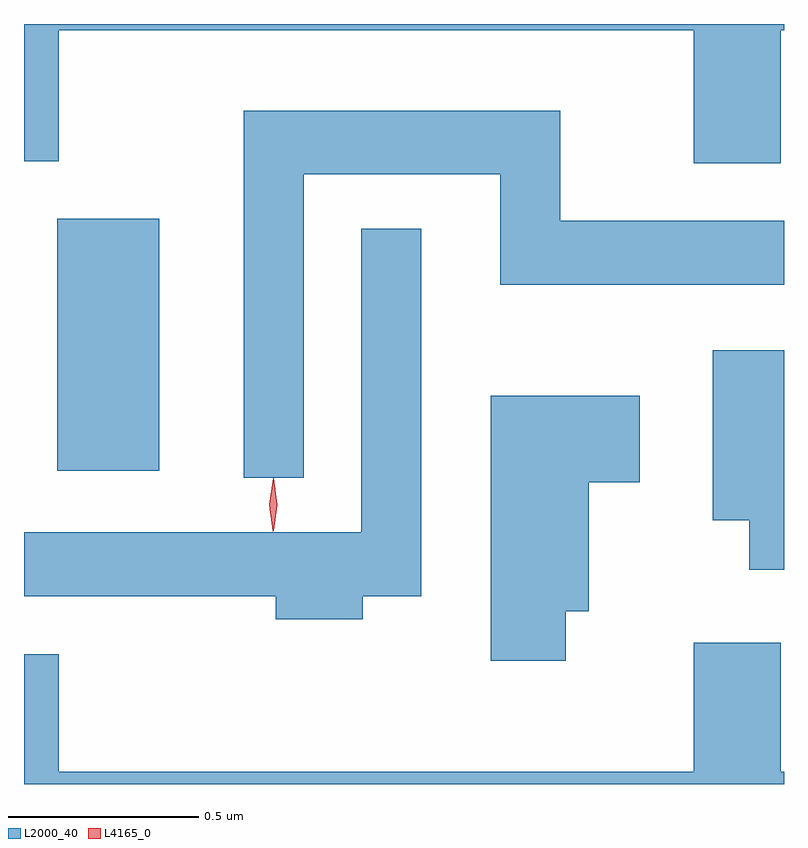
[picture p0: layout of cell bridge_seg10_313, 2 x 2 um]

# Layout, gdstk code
import gdstk
lib = gdstk.Library(unit=1e-6, precision=1e-09)
def R(c, l, rs):  # rectangles x0, y0, x1, y1
    for r in rs: c.add(gdstk.rectangle(r[:2], r[2:], *l))
def P(c, l, *ps):  # polygons
    for p in ps: c.add(gdstk.Polygon(p, *l))
L2000_40 = (2000, 40)
L4165_0 = (4165, 0)

bridge_seg10_313 = lib.new_cell('bridge_seg10_313')
R(bridge_seg10_313, L2000_40, [(1450.696,2183.796,1450.964,2184.459)])
P(bridge_seg10_313, L2000_40, [(1450.608,2184.611),(1450.699,2184.611),(1450.699,2184.956),(1452.371,2184.956),(1452.371,2184.606),(1452.599,2184.606),(1452.599,2184.956),(1452.608,2184.956),(1452.608,2184.972),(1450.608,2184.972)],
  [(1451.344,2184.576),(1451.861,2184.576),(1451.861,2184.286),(1452.608,2184.286),(1452.608,2184.454),(1452.019,2184.454),(1452.019,2184.744),(1451.186,2184.744),(1451.186,2183.778),(1451.344,2183.778)],
  [(1451.499,2183.466),(1451.654,2183.466),(1451.654,2184.433),(1451.496,2184.433),(1451.496,2183.634),(1450.608,2183.634),(1450.608,2183.466),(1451.271,2183.466),(1451.271,2183.406),(1451.499,2183.406)],
  [(1452.608,2184.114),(1452.421,2184.114),(1452.421,2183.666),(1452.516,2183.666),(1452.516,2183.536),(1452.608,2183.536)],
  [(1452.034,2183.426),(1452.094,2183.426),(1452.094,2183.766),(1452.229,2183.766),(1452.229,2183.994),(1451.836,2183.994),(1451.836,2183.296),(1452.034,2183.296)],
  [(1452.608,2183.004),(1452.599,2183.004),(1452.599,2183.344),(1452.371,2183.344),(1452.371,2183.004),(1450.699,2183.004),(1450.699,2183.314),(1450.608,2183.314),(1450.608,2182.972),(1452.608,2182.972)])
P(bridge_seg10_313, L4165_0, [(1451.263,2183.637),(1451.263,2183.638),(1451.254,2183.707),(1451.264,2183.776),(1451.264,2183.776),(1451.265,2183.776),(1451.274,2183.707),(1451.264,2183.638)],
  [(1451.265,2183.639),(1451.264,2183.64),(1451.255,2183.706),(1451.264,2183.772),(1451.265,2183.773),(1451.265,2183.772),(1451.275,2183.706),(1451.265,2183.64)])

lib.write_gds('bridge_seg10_313.gds')
